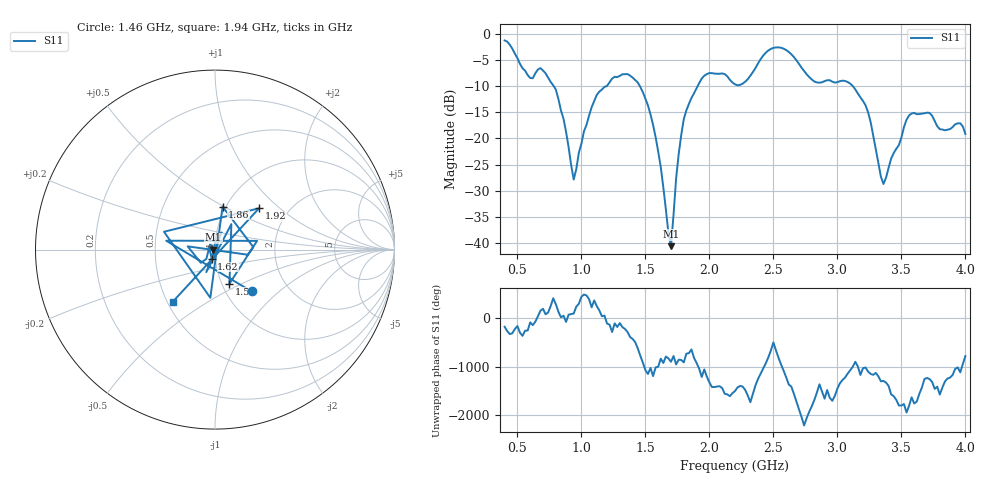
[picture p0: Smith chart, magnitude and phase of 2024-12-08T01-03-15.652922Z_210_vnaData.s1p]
!Created with skrf (http://scikit-rf.org).
# Hz S RI R 50.0
!freq ReS11 ImS11
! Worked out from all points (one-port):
!   181 points, 400 MHz to 4 GHz, reference 50 ohm
!   lowest |S11| = -40.5 dB at 1.7 GHz (marker M1), VSWR 1.02, Z = 49.1 - j0.0876 ohm
!   |S11| at or under -10 dB: 783.1 MHz to 1.199 GHz (415.7 MHz wide, 42 % of centre); 1.456 GHz to 1.909 GHz (452.9 MHz wide, 26.9 % of centre); 3.12 GHz to end of sweep
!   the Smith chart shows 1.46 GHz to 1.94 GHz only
!   S11 on the Smith chart (normalised r, x): 1.46 GHz: 1.31, -0.68; 1.52 GHz: 1.09, -0.43; 1.62 GHz: 0.96, -0.10; 1.86 GHz: 0.97, +0.49; 1.92 GHz: 1.43, +0.74; 1.94 GHz: 0.54, -0.36
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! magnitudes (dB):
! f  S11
! 400 MHz  -1.3
! 600 MHz  -8.5
! 720 MHz  -7.6
! 800 MHz  -10.7
! 860 MHz  -16.2
! 940 MHz  -27.8
! 1.02 GHz  -18.6
! 1.12 GHz  -11.7
! 1.3 GHz  -8.1
! 1.46 GHz  -10.2
! 1.52 GHz  -13.7
! 1.62 GHz  -25.5
! 1.7 GHz  -40.5
! 1.76 GHz  -23.0
! 1.8 GHz  -16.3
! 1.86 GHz  -12.3
! 1.92 GHz  -9.5
! 1.94 GHz  -8.6
! 2.2 GHz  -9.7
! 2.48 GHz  -2.9
! 2.66 GHz  -4.5
! 2.82 GHz  -9.1
! 3.1 GHz  -9.5
! 3.24 GHz  -15.0
! 3.36 GHz  -28.7
! 3.56 GHz  -15.6
! 3.72 GHz  -15.1
! 4 GHz  -19.1
